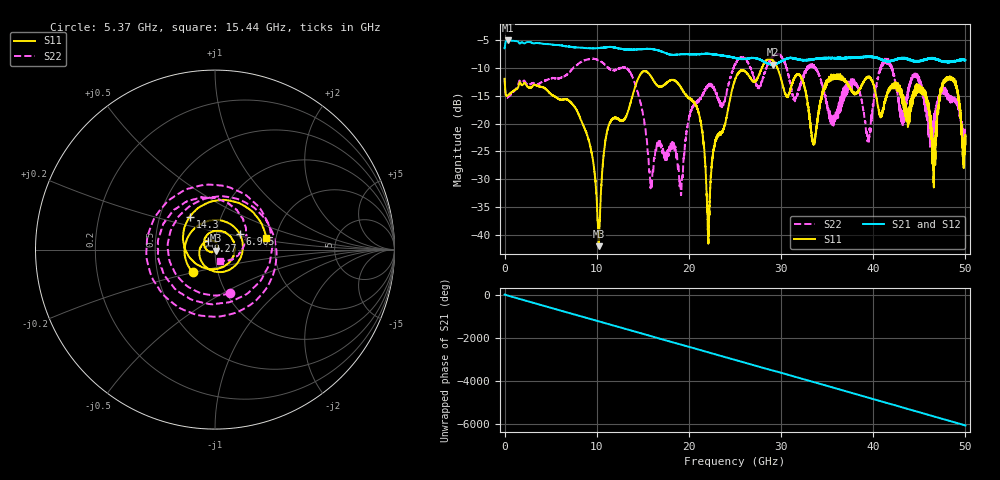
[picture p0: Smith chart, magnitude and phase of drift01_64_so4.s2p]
!Created with skrf (http://scikit-rf.org).
# Hz S RI R 50.0
!freq ReS11 ImS11 ReS21 ImS21 ReS12 ImS12 ReS22 ImS22
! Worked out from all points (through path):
!   10001 points, 300 kHz to 50 GHz, reference 50 ohm
!   highest |S21| = -5.05 dB at 325.3 MHz (marker M1); lowest = -9.4 dB at 29.12 GHz (marker M2)
!   group delay of S21, straight-line fit = 336 ps
!   lowest |S11| = -42.0 dB at 10.22 GHz (marker M3), VSWR 1.02, Z = 50.5 - j0.622 ohm
!   |S11| at or under -10 dB: start of sweep to 27.9 GHz; 29.59423 GHz to 29.59632 GHz (2.086 MHz wide, 0.00705 % of centre); 29.6 GHz to end of sweep
!   |S22| runs from -32.9 to -7.5 dB; largest |S21 - S12| = 0.013
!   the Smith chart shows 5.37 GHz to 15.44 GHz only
!   S11 on the Smith chart (normalised r, x): 5.37 GHz: 0.76, -0.20; 6.905 GHz: 1.30, +0.23; 9.27 GHz: 0.92, +0.09; 14.3 GHz: 0.71, +0.28; 15.44 GHz: 1.77, +0.25
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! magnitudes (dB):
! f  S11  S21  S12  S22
! 300 kHz  -11.9  -6.5  -6.5  -11.9
! 325.3 MHz  -15.0  -5.1  -5.1  -15.3
! 5.37 GHz  -15.0  -5.9  -5.9  -11.8
! 6.905 GHz  -15.8  -6.1  -6.1  -11.0
! 8.335 GHz  -19.5  -6.3  -6.3  -8.9
! 9.27 GHz  -23.9  -6.4  -6.4  -8.4
! 10.22 GHz  -42.0  -6.4  -6.4  -8.6
! 11.23 GHz  -20.7  -6.2  -6.2  -9.9
! 14.3 GHz  -12.7  -6.7  -6.7  -13.5
! 15.44 GHz  -10.7  -6.6  -6.6  -23.0
! 16.67 GHz  -13.3  -6.9  -6.8  -23.3
! 19.14 GHz  -13.5  -7.5  -7.5  -32.6
! 20.86 GHz  -17.1  -7.5  -7.5  -16.1
! 22.12 GHz  -41.5  -7.5  -7.4  -13.5
! 25 GHz  -12.1  -8.2  -8.2  -9.4
! 29.12 GHz  -8.7  -9.4  -9.4  -7.9
! 33.34 GHz  -22.6  -8.5  -8.4  -9.7
! 39.46 GHz  -11.6  -8.0  -8.0  -22.1
! 41.67 GHz  -13.8  -8.8  -8.7  -9.4
! 46.55 GHz  -27.0  -8.2  -8.2  -20.9
! 48.56 GHz  -12.0  -8.8  -8.8  -16.2
! 50 GHz  -23.6  -8.6  -8.6  -22.7
